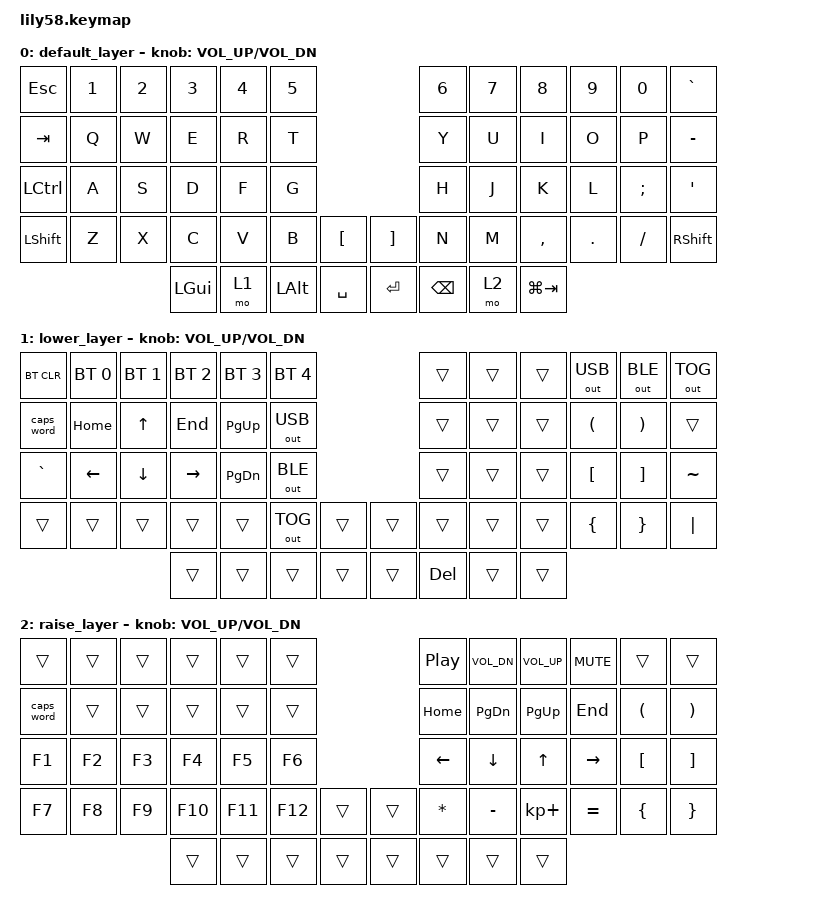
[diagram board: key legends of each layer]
/*
 * Copyright (c) 2020 The ZMK Contributors
 *
 * SPDX-License-Identifier: MIT
 */

#include <behaviors.dtsi>
#include <dt-bindings/zmk/keys.h>
#include <dt-bindings/zmk/bt.h>
#include <dt-bindings/zmk/ext_power.h>
#include <dt-bindings/zmk/outputs.h>

/ {
	keymap {
		compatible = "zmk,keymap";

		default_layer {
// ------------------------------------------------------------------------------------------------------------
// | ESC   |  1  |  2  |  3   |  4    |  5   |                   |  6   |  7    |   8   |  9   |   0   |   `   |
// | TAB   |  Q  |  W  |  E   |  R    |  T   |       Ploopy?     |  Y   |  U    |   I   |  O   |   P   |   -   |
// | CTRL  |  A  |  S  |  D   |  F    |  G   |                   |  H   |  J    |   K   |  L   |   ;   |   '   |
// | SHIFT |  Z  |  X  |  C   |  V    |  B   |   [   |   |   ]   |  N   |  M    |   ,   |  .   |   /   | SHIFT |
//                     | GUI  | LOWER | ALT  | SPACE |   | ENTER | BSPC | RAISE | WKSPC |
			bindings = <
&kp ESC   &kp N1 &kp N2 &kp N3   &kp N4 &kp N5                       &kp N6   &kp N7 &kp N8    &kp N9  &kp N0   &kp GRAVE
&kp TAB   &kp Q  &kp W  &kp E    &kp R  &kp T                        &kp Y    &kp U  &kp I     &kp O   &kp P    &kp MINUS
&kp LCTRL &kp A  &kp S  &kp D    &kp F  &kp G                        &kp H    &kp J  &kp K     &kp L   &kp SEMI &kp SQT
&kp LSHFT &kp Z  &kp X  &kp C    &kp V  &kp B    &kp LBKT   &kp RBKT &kp N    &kp M  &kp COMMA &kp DOT &kp FSLH &kp RSHFT
                        &kp LGUI &mo 1  &kp LALT &kp SPACE  &kp RET  &kp BSPC &mo 2  &kp LG(TAB)
			>;

			sensor-bindings = <&inc_dec_kp C_VOL_UP C_VOL_DN>;
		};

		lower_layer {
// ------------------------------------------------------------------------------------------------------------
// | BTCLR    | BT1 | BT2 | BT3 | BT4 | BT5 |          |     |     |    | OUT_USB | OUT_BLE | OUT_TOG |
// | CAPS_WRD | HOME| UP  | END |PG_UP|O_USB|          |     |     |    |    (    |    )    |         |
// |    `     | LEFT| DOWN|RIGHT|PG_DN|O_BLE|          |     |     |    |    [    |    ]    |    ~    |
// |          |     |     |     |     |O_TOG|   |  |   |     |     |    |    {    |    }    |   "|"   |
//                        |     |     |     |   |  |   | DEL |     |    |
			bindings = <
&bt BT_CLR &bt BT_SEL 0 &bt BT_SEL 1 &bt BT_SEL 2 &bt BT_SEL 3 &bt BT_SEL 4                &trans &trans  &trans &out OUT_USB &out OUT_BLE &out OUT_TOG
&caps_word &kp HOME     &kp UP       &kp END      &kp PG_UP    &out OUT_USB                &trans &trans  &trans &kp LPAR     &kp RPAR     &trans
&kp GRAVE  &kp LEFT     &kp DOWN     &kp RIGHT    &kp PG_DN    &out OUT_BLE                &trans &trans  &trans &kp LBKT     &kp RBKT     &kp TILDE
&trans     &trans       &trans       &trans       &trans       &out OUT_TOG &trans &trans  &trans &trans  &trans &kp LBRC     &kp RBRC     &kp PIPE
                                                  &trans       &trans       &trans &trans  &trans &kp DEL &trans &trans
			>;

			sensor-bindings = <&inc_dec_kp C_VOL_UP C_VOL_DN>;
		};

		raise_layer {
// ------------------------------------------------------------------------------------------------------------
// |        |    |    |     |     |     |                   | PLAY | VOL_UP| VOL_DN| MUTE|   |   |
// |CAPS_WRD|    |    |     |     |     |                   | HOME | PG_DN | PG_UP | END | ( | ) |
// |   F1   | F2 | F3 | F4  | F5  | F6  |                   | <-   |   v   |   ^   |  -> | [ | ] |
// |   F7   | F8 | F9 | F10 | F11 | F12 |        |  |       |  *   |   -   |   +   |  =  | { | } |
//                    |     |     |     |        |  |       |      |       |       |
			bindings = <
&trans     &trans &trans &trans  &trans  &trans                &kp C_PP &kp C_VOL_DN &kp C_VOL_UP &kp C_MUTE &trans   &trans
&caps_word &trans &trans &trans  &trans  &trans                &kp HOME &kp PG_DN    &kp PG_UP    &kp END    &kp LPAR &kp RPAR
&kp F1     &kp F2 &kp F3 &kp F4  &kp F5  &kp F6                &kp LEFT &kp DOWN     &kp UP       &kp RIGHT  &kp LBKT &kp RBKT
&kp F7     &kp F8 &kp F9 &kp F10 &kp F11 &kp F12 &trans &trans &kp STAR &kp MINUS    &kp KP_PLUS  &kp EQUAL  &kp LBRC &kp RBRC
                         &trans  &trans  &trans  &trans &trans &trans   &trans       &trans
			>;

			sensor-bindings = <&inc_dec_kp C_VOL_UP C_VOL_DN>;
		};
	};
};
